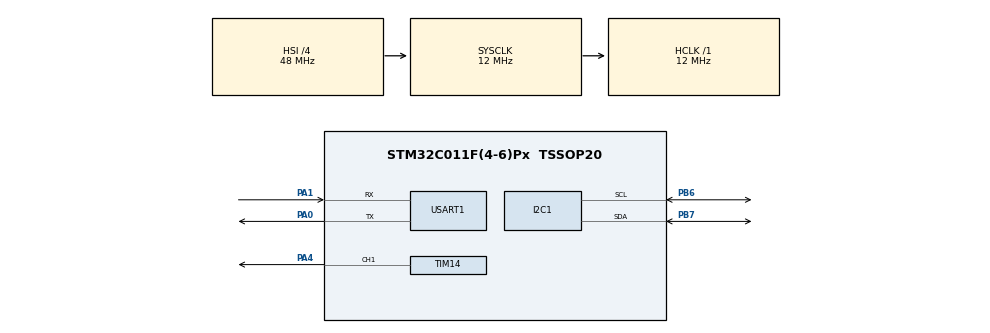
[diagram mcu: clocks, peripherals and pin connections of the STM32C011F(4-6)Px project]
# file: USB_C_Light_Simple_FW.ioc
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I2C1.Speed=100
I2C1.Timing=0x00402D41
Mcu.Family=STM32C0
Mcu.Name=STM32C011F(4-6)Px
Mcu.Package=TSSOP20
NVIC.TIM14_IRQn=true\:0\:0\:false\:false\:true\:true\:true\:true
NVIC.USART1_IRQn=true\:0\:0\:false\:false\:true\:true\:true\:true
PA0.Mode=Asynchronous
PA0.Signal=USART1_TX
PA1.Mode=Asynchronous
PA1.Signal=USART1_RX
PA13.Mode=Serial_Wire
PA13.Signal=DEBUG_SWDIO
PA14-BOOT0.Mode=Serial_Wire
PA14-BOOT0.Signal=DEBUG_SWCLK
PA4.GPIO_ModeDefaultPP=GPIO_MODE_AF_PP
PA4.PinState=GPIO_PIN_SET
PA4.Signal=S_TIM14_CH1
PB6.Mode=I2C
PB6.Signal=I2C1_SCL
PB7.Mode=I2C
PB7.Signal=I2C1_SDA
PC14-OSCX_IN\ (PC14).Mode=HSE-External-Oscillator-REMAPPED
PC14-OSCX_IN\ (PC14).Signal=RCC_OSCX_IN
PC15-OSCX_OUT\ (PC15).Mode=HSE-External-Oscillator-REMAPPED
PC15-OSCX_OUT\ (PC15).Signal=RCC_OSCX_OUT
ProjectManager.HeapSize=0x200
ProjectManager.StackSize=0x400
ProjectManager.TargetToolchain=STM32CubeIDE
RCC.ADCFreq_Value=12000000
RCC.AHBFreq_Value=12000000
RCC.CortexFreq_Value=12000000
RCC.EXTERNAL_CLOCK_VALUE=12288000
RCC.HCLKFreq_Value=12000000
RCC.HSE_VALUE=8000000
RCC.HSI_VALUE=48000000
RCC.LSE_VALUE=32768
RCC.SYSCLKFreq_VALUE=12000000
SH.S_TIM14_CH1.0=TIM14_CH1,PWM Generation1 CH1
TIM14.AutoReloadPreload=TIM_AUTORELOAD_PRELOAD_DISABLE
TIM14.Channel=TIM_CHANNEL_1
TIM14.ClockDivision=TIM_CLOCKDIVISION_DIV1
TIM14.OCFastMode_PWM=TIM_OCFAST_ENABLE
TIM14.Period=1999
TIM14.Prescaler=11999
TIM14.Pulse=1000
USART1.VirtualMode-Asynchronous=VM_ASYNC
VP_TIM14_VS_ClockSourceINT.Mode=Enable_Timer
board=custom

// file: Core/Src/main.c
/* USER CODE BEGIN Header */
/**
  ******************************************************************************
  * @file           : main.c
  * @brief          : Main program body
  ******************************************************************************
  * @attention
  *
  * Copyright (c) 2025 STMicroelectronics.
  * All rights reserved.
  *
  * This software is licensed under terms that can be found in the LICENSE file
  * in the root directory of this software component.
  * If no LICENSE file comes with this software, it is provided AS-IS.
  *
  ******************************************************************************
  */
/* USER CODE END Header */
#include "main.h"

/* USER CODE BEGIN Includes */
#include "AP33772S.h"
#include "uix.h"
#include <stdio.h>
#include <stdbool.h>
/* USER CODE END Includes */

I2C_HandleTypeDef hi2c1;

TIM_HandleTypeDef htim14;

UART_HandleTypeDef huart1;

void SystemClock_Config(void);
static void MX_GPIO_Init(void);
static void MX_I2C1_Init(void);
static void MX_USART1_UART_Init(void);
static void MX_TIM14_Init(void);

/* USER CODE BEGIN 0 */
int _write(int file, char *data, int len) {
	HAL_UART_Transmit(&huart1, (uint8_t*) data, len, HAL_MAX_DELAY);
	return len;
}

void menu_exit_delay(uint8_t * const uart_buff){
	printf("\n\r--press any key to exit--\r\n");

	*uart_buff = '\0';
	while(*uart_buff == '\0'){
		*uart_buff = '\0';
		HAL_UART_Receive_IT(&huart1, uart_buff, 1);
	}
	*uart_buff = '\0';
}

/* USER CODE END 0 */

int main(void)
{

  /* MCU Configuration--------------------------------------------------------*/

  /* Reset of all peripherals, Initializes the Flash interface and the Systick. */
  HAL_Init();

  /* Configure the system clock */
  SystemClock_Config();

  /* Initialize all configured peripherals */
  MX_GPIO_Init();
  MX_I2C1_Init();
  MX_USART1_UART_Init();
  MX_TIM14_Init();
  /* USER CODE BEGIN 2 */

  //init PWM
  HAL_TIM_PWM_Start(&htim14, TIM_CHANNEL_1);

  printf("\n\rStarting...\n\r");
  HAL_Delay(500);
  set_default_voltage();
  printf("Init complete.\r\n");
  uint32_t start = HAL_GetTick();
  bool retry = 0;
  //UART buff
  char uart_buff = '\0';
  HAL_UART_Receive_IT(&huart1, &uart_buff, 1);

  /* USER CODE END 2 */

  /* Infinite loop */
  /* USER CODE BEGIN WHILE */
  while (1)
  {
	 if(retry == 0 && (HAL_GetTick() - start) > 2000){
//		 printf("retry\r\n");
		 set_default_voltage();
		 retry = 1;
	 }
	 print_stats();
	 HAL_UART_Receive_IT(&huart1, &uart_buff, 1);

	 if(uart_buff != '\0'){
		 HAL_UART_Transmit(&huart1, &uart_buff, 1, HAL_MAX_DELAY); //echo
		 if(uart_buff == 's'){
			 req_PDO_options();

			 printf("\r\nSelect PDO and hit enter.\r\n");

			 uint8_t pdo = get_user_input();
			 printf("\r\nSelect current limit:\r\n\t0\t1.00A\r\n\t1\t1.25A\r\n\t2\t1.50A\r\n\t3\t1.75A\r\n\t4\t2.00A\r\n\t5\t2.25A\r\n\t6\t2.50A\r\n\t7\t2.75A\r\n\t8\t3.00A\r\n\t9\t3.25A\r\n\t10\t3.50A\r\n\t11\t3.75A\r\n\t12\t4.00A\r\n\t13\t4.25A\r\n\t14\t4.50A\r\n\t15\t5.00A\r\n\r\n");

			 uint8_t curr = get_user_input();
			 select_PDO(pdo, curr);

			 menu_exit_delay(&uart_buff);
		 }
		 if(uart_buff == 'c'){
			 req_PDO_options();

			 menu_exit_delay(&uart_buff);
		 }
		 if(uart_buff == 'h'){
			 printf("\r\n\r\n*****************HELP MENU*****************\r\n\r\n");
			 printf("Commands:\r\n");
			 printf("\tc\tlist all the available PDOs\r\n");
			 printf("\ts\tlist all the available PDOs and select new PDO\r\n");
			 printf("\th\thelp\r\n");

			 menu_exit_delay(&uart_buff);
		 }
	 }

    /* USER CODE END WHILE */

  }
}

void SystemClock_Config(void)
{
  RCC_OscInitTypeDef RCC_OscInitStruct = {0};
  RCC_ClkInitTypeDef RCC_ClkInitStruct = {0};

  __HAL_FLASH_SET_LATENCY(FLASH_LATENCY_0);

  /** Initializes the RCC Oscillators according to the specified parameters
  * in the RCC_OscInitTypeDef structure.
  */
  RCC_OscInitStruct.OscillatorType = RCC_OSCILLATORTYPE_HSI;
  RCC_OscInitStruct.HSIState = RCC_HSI_ON;
  RCC_OscInitStruct.HSIDiv = RCC_HSI_DIV4;
  RCC_OscInitStruct.HSICalibrationValue = RCC_HSICALIBRATION_DEFAULT;
  if (HAL_RCC_OscConfig(&RCC_OscInitStruct) != HAL_OK)
  {
    Error_Handler();
  }

  /** Initializes the CPU, AHB and APB buses clocks
  */
  RCC_ClkInitStruct.ClockType = RCC_CLOCKTYPE_HCLK|RCC_CLOCKTYPE_SYSCLK
                              |RCC_CLOCKTYPE_PCLK1;
  RCC_ClkInitStruct.SYSCLKSource = RCC_SYSCLKSOURCE_HSI;
  RCC_ClkInitStruct.SYSCLKDivider = RCC_SYSCLK_DIV1;
  RCC_ClkInitStruct.AHBCLKDivider = RCC_HCLK_DIV1;
  RCC_ClkInitStruct.APB1CLKDivider = RCC_APB1_DIV1;

  if (HAL_RCC_ClockConfig(&RCC_ClkInitStruct, FLASH_LATENCY_0) != HAL_OK)
  {
    Error_Handler();
  }
}

static void MX_I2C1_Init(void)
{

  hi2c1.Instance = I2C1;
  hi2c1.Init.Timing = 0x00402D41;
  hi2c1.Init.OwnAddress1 = 0;
  hi2c1.Init.AddressingMode = I2C_ADDRESSINGMODE_7BIT;
  hi2c1.Init.DualAddressMode = I2C_DUALADDRESS_DISABLE;
  hi2c1.Init.OwnAddress2 = 0;
  hi2c1.Init.OwnAddress2Masks = I2C_OA2_NOMASK;
  hi2c1.Init.GeneralCallMode = I2C_GENERALCALL_DISABLE;
  hi2c1.Init.NoStretchMode = I2C_NOSTRETCH_DISABLE;
  if (HAL_I2C_Init(&hi2c1) != HAL_OK)
  {
    Error_Handler();
  }

  /** Configure Analogue filter
  */
  if (HAL_I2CEx_ConfigAnalogFilter(&hi2c1, I2C_ANALOGFILTER_ENABLE) != HAL_OK)
  {
    Error_Handler();
  }

  /** Configure Digital filter
  */
  if (HAL_I2CEx_ConfigDigitalFilter(&hi2c1, 0) != HAL_OK)
  {
    Error_Handler();
  }

}

static void MX_TIM14_Init(void)
{

  TIM_OC_InitTypeDef sConfigOC = {0};

  htim14.Instance = TIM14;
  htim14.Init.Prescaler = 11999;
  htim14.Init.CounterMode = TIM_COUNTERMODE_UP;
  htim14.Init.Period = 1999;
  htim14.Init.ClockDivision = TIM_CLOCKDIVISION_DIV1;
  htim14.Init.AutoReloadPreload = TIM_AUTORELOAD_PRELOAD_DISABLE;
  if (HAL_TIM_Base_Init(&htim14) != HAL_OK)
  {
    Error_Handler();
  }
  if (HAL_TIM_PWM_Init(&htim14) != HAL_OK)
  {
    Error_Handler();
  }
  sConfigOC.OCMode = TIM_OCMODE_PWM1;
  sConfigOC.Pulse = 1000;
  sConfigOC.OCPolarity = TIM_OCPOLARITY_HIGH;
  sConfigOC.OCFastMode = TIM_OCFAST_ENABLE;
  if (HAL_TIM_PWM_ConfigChannel(&htim14, &sConfigOC, TIM_CHANNEL_1) != HAL_OK)
  {
    Error_Handler();
  }
  HAL_TIM_MspPostInit(&htim14);

}

static void MX_USART1_UART_Init(void)
{

  huart1.Instance = USART1;
  huart1.Init.BaudRate = 115200;
  huart1.Init.WordLength = UART_WORDLENGTH_8B;
  huart1.Init.StopBits = UART_STOPBITS_1;
  huart1.Init.Parity = UART_PARITY_NONE;
  huart1.Init.Mode = UART_MODE_TX_RX;
  huart1.Init.HwFlowCtl = UART_HWCONTROL_NONE;
  huart1.Init.OverSampling = UART_OVERSAMPLING_16;
  huart1.Init.OneBitSampling = UART_ONE_BIT_SAMPLE_DISABLE;
  huart1.Init.ClockPrescaler = UART_PRESCALER_DIV1;
  huart1.AdvancedInit.AdvFeatureInit = UART_ADVFEATURE_NO_INIT;
  if (HAL_UART_Init(&huart1) != HAL_OK)
  {
    Error_Handler();
  }
  if (HAL_UARTEx_SetTxFifoThreshold(&huart1, UART_TXFIFO_THRESHOLD_1_8) != HAL_OK)
  {
    Error_Handler();
  }
  if (HAL_UARTEx_SetRxFifoThreshold(&huart1, UART_RXFIFO_THRESHOLD_1_8) != HAL_OK)
  {
    Error_Handler();
  }
  if (HAL_UARTEx_DisableFifoMode(&huart1) != HAL_OK)
  {
    Error_Handler();
  }

}

static void MX_GPIO_Init(void)
{

  /* GPIO Ports Clock Enable */
  __HAL_RCC_GPIOB_CLK_ENABLE();
  __HAL_RCC_GPIOC_CLK_ENABLE();
  __HAL_RCC_GPIOA_CLK_ENABLE();

}

void Error_Handler(void)
{
  __disable_irq();
  while (1)
  {
  }
}
